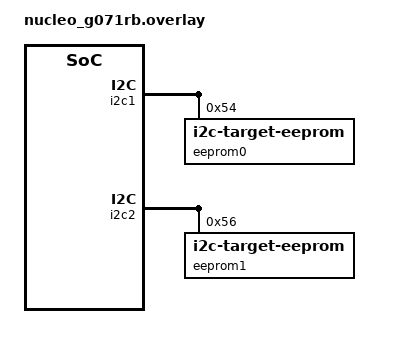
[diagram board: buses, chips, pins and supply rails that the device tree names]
/*
 * Copyright (c) 2020 Thomas Stranger
 * SPDX-License-Identifier: Apache-2.0
 */

/* I2C bus pins are exposed on the ST morpho header.
 *
 *  Bus        SDA               SCL
 *          Pin   Hdr         Pin   Hdr
 *  i2c1    PB9   CN10:5      PB8   CN10:3
 *  i2c2    PA12  CN10:12     PA11  CN10:14
 *
 * Short Pin PB9 to PA12, and PB8 to PA11, for the test to pass.
 */

#define IC2_TEST_0_DMA_TX <&dmamux1 2 11 (STM32_DMA_PERIPH_TX | STM32_DMA_PRIORITY_HIGH)>
#define IC2_TEST_0_DMA_RX <&dmamux1 1 10 (STM32_DMA_PERIPH_RX | STM32_DMA_PRIORITY_HIGH)>

i2c_test_0: &i2c1 {
	dmas = IC2_TEST_0_DMA_TX, IC2_TEST_0_DMA_RX;
	dma-names = "tx", "rx";

	eeprom0: eeprom@54 {
		compatible = "zephyr,i2c-target-eeprom";
		reg = <0x54>;
		size = <256>;
	};
};

#define IC2_TEST_1_DMA_TX <&dmamux1 4 13 (STM32_DMA_PERIPH_TX | STM32_DMA_PRIORITY_HIGH)>
#define IC2_TEST_1_DMA_RX <&dmamux1 3 12 (STM32_DMA_PERIPH_RX | STM32_DMA_PRIORITY_HIGH)>

i2c_test_1: &i2c2 {
	dmas = IC2_TEST_1_DMA_TX, IC2_TEST_1_DMA_RX;
	dma-names = "tx", "rx";

	eeprom1: eeprom@56 {
		compatible = "zephyr,i2c-target-eeprom";
		reg = <0x56>;
		size = <256>;
	};
};

&dma1 {
	status = "okay";
};

&dmamux1 {
	status = "okay";
};
